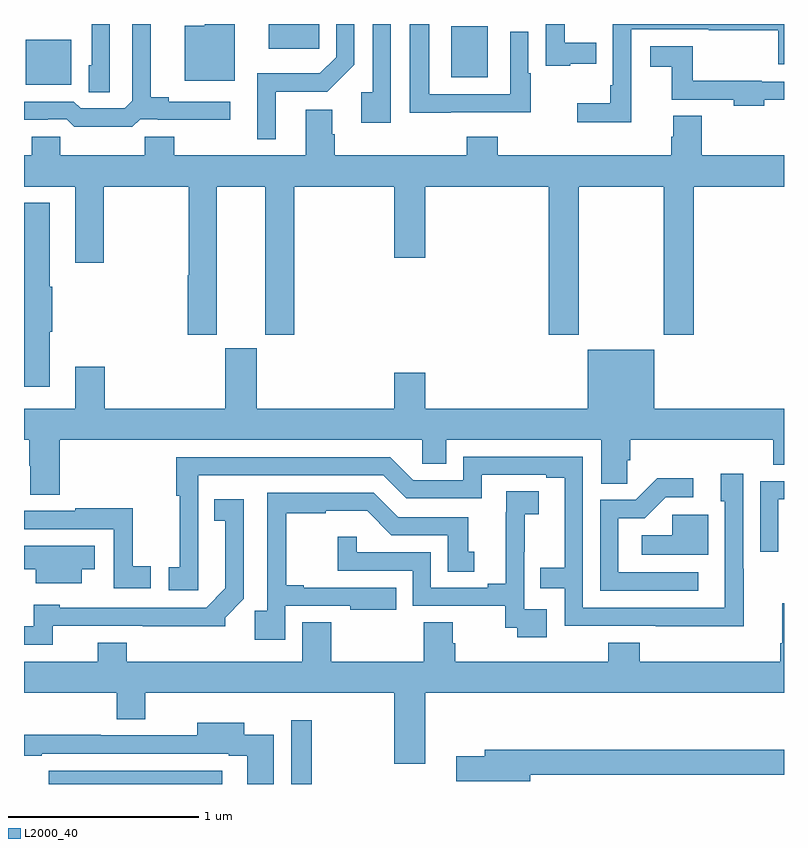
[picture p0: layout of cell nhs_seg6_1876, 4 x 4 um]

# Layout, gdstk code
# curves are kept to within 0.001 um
import gdstk
lib = gdstk.Library(unit=1e-6, precision=1e-09)
def R(c, l, rs):  # rectangles x0, y0, x1, y1
    for r in rs: c.add(gdstk.rectangle(r[:2], r[2:], *l))
def P(c, l, *ps):  # polygons
    for p in ps: c.add(gdstk.Polygon(p, *l))
L2000_40 = (2000, 40)

nhs_seg6_1876 = lib.new_cell('nhs_seg6_1876')
R(nhs_seg6_1876, L2000_40, [(223.13,969.5,224.044,969.571), (224.406,969.5,224.515,969.835), (223.01,973.181,223.249,973.417), (225.248,973.22,225.442,973.488), (224.288,973.37,224.553,973.5)])
P(nhs_seg6_1876, L2000_40, [(225.875,973.292),(226.012,973.292),(226.012,973.402),(225.846,973.402),(225.846,973.5),(225.747,973.5),(225.747,973.281),(225.875,973.281)],
  [(224.931,973.5),(224.835,973.5),(224.835,973.142),(224.775,973.142),(224.775,972.981),(224.931,972.981)],
  [(226.196,973.473),(226.603,973.473),(226.603,973.468),(226.971,973.468),(226.971,973.287),(227,973.287),(227,973.5),(226.098,973.5),(226.098,973.177),(226.086,973.177),(226.086,973.082),(225.912,973.082),(225.912,972.983),(226.196,972.983)],
  [(225.245,973.035),(225.667,973.035),(225.667,973.242),(225.654,973.242),(225.654,973.459),(225.558,973.459),(225.558,973.131),(225.133,973.131),(225.133,973.5),(225.029,973.5),(225.029,973.033),(225.245,973.033)],
  [(224.11,973.5),(223.952,973.5),(223.952,973.492),(223.847,973.492),(223.847,973.202),(224.11,973.202)],
  [(223.452,973.5),(223.356,973.5),(223.356,973.284),(223.34,973.284),(223.34,973.141),(223.452,973.141)],
  [(223.611,972.999),(223.705,972.999),(223.705,972.995),(224.086,972.995),(224.086,973.092),(223.762,973.092),(223.762,973.115),(223.667,973.115),(223.667,973.5),(223.569,973.5),(223.569,973.095),(223.53,973.056),(223.299,973.056),(223.263,973.092),(223,973.092),(223,972.995),(223.124,972.995),(223.124,972.999),(223.224,972.999),(223.264,972.96),(223.571,972.96)],
  [(224.326,973.143),(224.596,973.143),(224.739,973.286),(224.739,973.5),(224.643,973.5),(224.643,973.326),(224.557,973.24),(224.228,973.24),(224.228,972.894),(224.326,972.894)],
  [(226.896,973.101),(227,973.101),(227,973.197),(226.884,973.197),(226.884,973.202),(226.519,973.202),(226.519,973.384),(226.296,973.384),(226.296,973.274),(226.409,973.274),(226.409,973.101),(226.736,973.101),(226.736,973.07),(226.896,973.07)],
  [(224.014,972.644),(224.27,972.644),(224.27,971.865),(224.423,971.865),(224.423,972.644),(224.948,972.644),(224.948,972.27),(225.112,972.27),(225.112,972.644),(225.761,972.644),(225.761,971.865),(225.921,971.865),(225.921,972.644),(226.366,972.644),(226.366,971.865),(226.526,971.865),(226.526,972.644),(227,972.644),(227,972.808),(226.566,972.808),(226.566,973.016),(226.418,973.016),(226.418,972.906),(226.406,972.906),(226.406,972.808),(225.494,972.808),(225.494,972.907),(225.329,972.907),(225.329,972.808),(224.636,972.808),(224.636,972.92),(224.623,972.92),(224.623,973.048),(224.483,973.048),(224.483,972.808),(223.791,972.808),(223.791,972.906),(223.636,972.906),(223.636,972.808),(223.191,972.808),(223.191,972.906),(223.04,972.906),(223.04,972.808),(223,972.808),(223,972.644),(223.271,972.644),(223.271,972.243),(223.419,972.243),(223.419,972.644),(223.867,972.644),(223.867,972.177),(223.862,972.177),(223.862,971.865),(224.014,971.865)],
  [(223.135,971.88),(223.148,971.88),(223.148,972.117),(223.135,972.117),(223.135,972.559),(223,972.559),(223,971.592),(223.135,971.592)],
  [(223.187,971.312),(225.096,971.312),(225.096,971.185),(225.223,971.185),(225.223,971.312),(226.037,971.312),(226.037,971.08),(226.176,971.08),(226.176,971.203),(226.19,971.203),(226.19,971.312),(226.943,971.312),(226.943,971.179),(227,971.179),(227,971.476),(226.318,971.476),(226.318,971.785),(225.968,971.785),(225.968,971.476),(225.112,971.476),(225.112,971.665),(224.948,971.665),(224.948,971.476),(224.224,971.476),(224.224,971.793),(224.06,971.793),(224.06,971.476),(223.424,971.476),(223.424,971.695),(223.271,971.695),(223.271,971.476),(223,971.476),(223,971.312),(223.027,971.312),(223.027,971.174),(223.034,971.174),(223.034,971.023),(223.187,971.023)],
  [(226.787,970.634),(226.785,970.634),(226.785,971.134),(226.667,971.134),(226.667,970.989),(226.689,970.989),(226.689,970.428),(225.942,970.428),(225.942,971.223),(225.312,971.223),(225.312,971.1),(225.048,971.1),(224.928,971.22),(223.801,971.22),(223.801,971.017),(223.819,971.017),(223.819,970.641),(223.761,970.641),(223.761,970.521),(223.918,970.521),(223.917,971.124),(224.892,971.124),(225.012,971.004),(225.408,971.004),(225.408,971.127),(225.749,971.127),(225.749,971.112),(225.845,971.112),(225.845,970.639),(225.718,970.639),(225.718,970.53),(225.846,970.53),(225.846,970.332),(226.787,970.331)],
  [(226.549,970.614),(226.128,970.614),(226.128,970.899),(226.266,970.899),(226.377,971.01),(226.522,971.01),(226.522,971.108),(226.334,971.108),(226.221,970.995),(226.032,970.995),(226.032,970.518),(226.549,970.518)],
  [(226.971,970.998),(227,970.998),(227,971.094),(226.875,971.094),(226.875,970.722),(226.971,970.722)],
  [(225.751,970.419),(225.633,970.419),(225.633,970.723),(225.635,970.723),(225.635,970.921),(225.709,970.921),(225.709,971.042),(225.538,971.042),(225.538,970.931),(225.536,970.931),(225.536,970.553),(225.44,970.553),(225.44,970.533),(225.141,970.533),(225.141,970.719),(224.751,970.719),(224.751,970.801),(224.65,970.801),(224.65,970.623),(225.045,970.623),(225.045,970.437),(225.532,970.437),(225.532,970.323),(225.595,970.323),(225.595,970.272),(225.751,970.272)],
  [(224.376,970.437),(224.717,970.437),(224.717,970.418),(224.96,970.418),(224.96,970.533),(224.473,970.533),(224.473,970.546),(224.381,970.546),(224.381,970.926),(224.588,970.926),(224.588,970.937),(224.806,970.937),(224.934,970.809),(225.23,970.809),(225.23,970.618),(225.37,970.618),(225.37,970.722),(225.337,970.722),(225.337,970.905),(224.97,970.905),(224.841,971.034),(224.28,971.034),(224.28,970.411),(224.215,970.411),(224.215,970.26),(224.376,970.26)],
  [(223.152,970.332),(224.058,970.331),(224.058,970.375),(224.157,970.474),(224.157,970.999),(224.002,970.999),(224.002,970.886),(224.06,970.886),(224.06,970.529),(223.959,970.428),(223.188,970.428),(223.188,970.444),(223.052,970.444),(223.052,970.329),(223,970.329),(223,970.233),(223.152,970.233)],
  [(223.666,970.646),(223.572,970.646),(223.572,970.951),(223.27,970.951),(223.27,970.938),(223,970.938),(223,970.842),(223.473,970.842),(223.473,970.53),(223.666,970.53)],
  [(226.6,970.917),(226.413,970.917),(226.413,970.81),(226.251,970.81),(226.251,970.706),(226.6,970.706)],
  [(223.303,970.631),(223.372,970.631),(223.372,970.753),(223,970.753),(223,970.631),(223.061,970.631),(223.061,970.556),(223.303,970.556)],
  [(225.112,969.98),(227,969.98),(227,970.452),(226.991,970.452),(226.991,970.24),(226.979,970.24),(226.979,970.144),(226.241,970.144),(226.241,970.243),(226.076,970.243),(226.076,970.144),(225.269,970.144),(225.269,970.242),(225.256,970.242),(225.256,970.352),(225.104,970.352),(225.104,970.144),(224.618,970.144),(224.618,970.352),(224.465,970.352),(224.465,970.144),(223.541,970.144),(223.541,970.243),(223.388,970.243),(223.388,970.144),(223,970.144),(223,969.98),(223.487,969.98),(223.487,969.841),(223.639,969.841),(223.639,969.98),(224.948,969.98),(224.948,969.606),(225.112,969.606)],
  [(224.314,969.759),(224.158,969.759),(224.158,969.823),(223.913,969.823),(223.913,969.756),(223.403,969.756),(223.403,969.759),(223,969.759),(223,969.648),(223.093,969.648),(223.093,969.66),(224.078,969.66),(224.078,969.648),(224.174,969.648),(224.174,969.5),(224.314,969.5)],
  [(225.664,969.55),(227,969.55),(227,969.679),(225.425,969.679),(225.425,969.645),(225.276,969.645),(225.276,969.515),(225.664,969.515)])

lib.write_gds('nhs_seg6_1876.gds')
